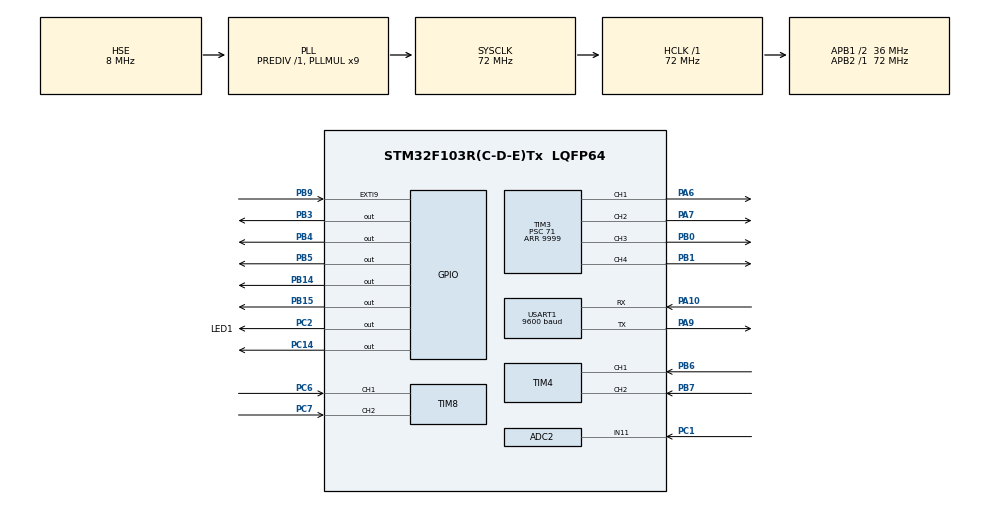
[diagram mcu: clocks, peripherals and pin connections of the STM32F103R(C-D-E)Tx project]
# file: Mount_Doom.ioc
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ADC2.Channel-0\#ChannelRegularConversion=ADC_CHANNEL_11
ADC2.NbrOfConversionFlag=1
ADC2.Rank-0\#ChannelRegularConversion=1
ADC2.SamplingTime-0\#ChannelRegularConversion=ADC_SAMPLETIME_13CYCLES_5
Mcu.Family=STM32F1
Mcu.Name=STM32F103R(C-D-E)Tx
Mcu.Package=LQFP64
NVIC.PriorityGroup=NVIC_PRIORITYGROUP_4
NVIC.TIM3_IRQn=true\:0\:0\:false\:false\:true\:true\:true\:true
NVIC.USART1_IRQn=true\:0\:0\:false\:false\:true\:true\:true\:true
PA10.Mode=Asynchronous
PA10.Signal=USART1_RX
PA13.Mode=Serial_Wire
PA13.Signal=SYS_JTMS-SWDIO
PA14.Mode=Serial_Wire
PA14.Signal=SYS_JTCK-SWCLK
PA6.GPIO_ModeDefaultPP=GPIO_MODE_AF_PP
PA6.Signal=S_TIM3_CH1
PA7.GPIO_ModeDefaultPP=GPIO_MODE_AF_PP
PA7.Signal=S_TIM3_CH2
PA9.Mode=Asynchronous
PA9.Signal=USART1_TX
PB0.GPIO_Speed=GPIO_SPEED_FREQ_LOW
PB0.Signal=S_TIM3_CH3
PB1.GPIO_Speed=GPIO_SPEED_FREQ_LOW
PB1.Signal=S_TIM3_CH4
PB14.Signal=GPIO_Output
PB15.Signal=GPIO_Output
PB3.GPIO_Speed=GPIO_SPEED_FREQ_LOW
PB3.PinState=GPIO_PIN_SET
PB3.Signal=GPIO_Output
PB4.GPIO_Speed=GPIO_SPEED_FREQ_LOW
PB4.PinState=GPIO_PIN_SET
PB4.Signal=GPIO_Output
PB5.GPIO_Speed=GPIO_SPEED_FREQ_LOW
PB5.PinState=GPIO_PIN_SET
PB5.Signal=GPIO_Output
PB6.GPIO_PuPd=GPIO_PULLUP
PB6.Signal=S_TIM4_CH1
PB7.GPIO_PuPd=GPIO_PULLUP
PB7.Signal=S_TIM4_CH2
PB9.GPIO_ModeDefaultEXTI=GPIO_MODE_IT_FALLING
PB9.GPIO_PuPd=GPIO_PULLUP
PB9.Signal=GPXTI9
PC1.Signal=ADCx_IN11
PC14-OSC32_IN.GPIO_ModeDefaultOutputPP=GPIO_MODE_OUTPUT_PP
PC14-OSC32_IN.GPIO_PuPd=GPIO_NOPULL
PC14-OSC32_IN.GPIO_Speed=GPIO_SPEED_FREQ_LOW
PC14-OSC32_IN.Signal=GPIO_Output
PC2.GPIO_Label=LED1
PC2.GPIO_PuPd=GPIO_PULLUP
PC2.Signal=GPIO_Output
PC6.GPIO_PuPd=GPIO_PULLUP
PC6.Signal=S_TIM8_CH1
PC7.GPIO_PuPd=GPIO_PULLUP
PC7.Signal=S_TIM8_CH2
PD0-OSC_IN.Mode=HSE-External-Oscillator
PD0-OSC_IN.Signal=RCC_OSC_IN
PD1-OSC_OUT.Mode=HSE-External-Oscillator
PD1-OSC_OUT.Signal=RCC_OSC_OUT
ProjectManager.HeapSize=0x800
ProjectManager.StackSize=0x800
ProjectManager.TargetToolchain=MDK-ARM V5
RCC.ADCPresc=RCC_ADCPCLK2_DIV6
RCC.AHBFreq_Value=72000000
RCC.APB1CLKDivider=RCC_HCLK_DIV2
RCC.APB1Freq_Value=36000000
RCC.APB1TimFreq_Value=72000000
RCC.APB2Freq_Value=72000000
RCC.APB2TimFreq_Value=72000000
RCC.HCLKFreq_Value=72000000
RCC.PLLMUL=RCC_PLL_MUL9
RCC.PLLSourceVirtual=RCC_PLLSOURCE_HSE
RCC.SYSCLKFreq_VALUE=72000000
RCC.SYSCLKSource=RCC_SYSCLKSOURCE_PLLCLK
RCC.USBFreq_Value=72000000
SH.ADCx_IN11.0=ADC2_IN11,IN11
SH.S_TIM3_CH1.0=TIM3_CH1,PWM Generation1 CH1
SH.S_TIM3_CH2.0=TIM3_CH2,PWM Generation2 CH2
SH.S_TIM3_CH3.0=TIM3_CH3,PWM Generation3 CH3
SH.S_TIM3_CH4.0=TIM3_CH4,PWM Generation4 CH4
SH.S_TIM4_CH1.0=TIM4_CH1,Encoder_Interface
SH.S_TIM4_CH2.0=TIM4_CH2,Encoder_Interface
SH.S_TIM8_CH1.0=TIM8_CH1,Encoder_Interface
SH.S_TIM8_CH2.0=TIM8_CH2,Encoder_Interface
TIM3.AutoReloadPreload=TIM_AUTORELOAD_PRELOAD_ENABLE
TIM3.Channel-PWM\ Generation1\ CH1=TIM_CHANNEL_1
TIM3.Channel-PWM\ Generation2\ CH2=TIM_CHANNEL_2
TIM3.Channel-PWM\ Generation3\ CH3=TIM_CHANNEL_3
TIM3.Channel-PWM\ Generation4\ CH4=TIM_CHANNEL_4
TIM3.Period=9999
TIM3.Prescaler=71
TIM3.Pulse-PWM\ Generation1\ CH1=0
TIM3.Pulse-PWM\ Generation2\ CH2=0
TIM4.AutoReloadPreload=TIM_AUTORELOAD_PRELOAD_ENABLE
TIM4.EncoderMode=TIM_ENCODERMODE_TI12
TIM4.IC1Filter=6
TIM4.IC2Filter=6
TIM8.AutoReloadPreload=TIM_AUTORELOAD_PRELOAD_ENABLE
TIM8.EncoderMode=TIM_ENCODERMODE_TI12
TIM8.IC1Filter=6
TIM8.IC2Filter=6
USART1.BaudRate=9600
USART1.VirtualMode=VM_ASYNC
VP_TIM3_VS_ClockSourceINT.Mode=Internal
board=custom

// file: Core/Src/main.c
/* USER CODE BEGIN Header */
/**
  ******************************************************************************
  * @file           : main.c
  * @brief          : Main program body
  ******************************************************************************
  * @attention
  *
  * Copyright (c) 2023 STMicroelectronics.
  * All rights reserved.
  *
  * This software is licensed under terms that can be found in the LICENSE file
  * in the root directory of this software component.
  * If no LICENSE file comes with this software, it is provided AS-IS.
  *
  ******************************************************************************
  */
/* USER CODE END Header */
#include "main.h"
#include "adc.h"
#include "tim.h"
#include "usart.h"
#include "gpio.h"

/* USER CODE BEGIN Includes */
#include "niming.h"
#include "pid.h"
#include <stdio.h>
#include <string.h>
#include "cJSON.h"
#include <math.h>
#include "bsp_oled.h"
#include "Header.h"
/* USER CODE END Includes */

/* USER CODE BEGIN PD */
#define LED1_ON() HAL_GPIO_WritePin(LED1_GPIO_Port, LED1_Pin, GPIO_PIN_RESET)
#define LED1_OFF() HAL_GPIO_WritePin(LED1_GPIO_Port, LED1_Pin, GPIO_PIN_SET)
#define LED1_TOGGLE() HAL_GPIO_TogglePin(LED1_GPIO_Port, LED1_Pin)
/* USER CODE END PD */

/* USER CODE BEGIN PM */

short Encoder1Count = 0;
short Encoder2Count = 0;

float Motor1Speed = 0.00;
float Motor2Speed = 0.00;

uint16_t Timer1Count = 0;

extern tPid pidMotor1Speed, pidMotor2Speed, pidMPU6050YawMovement, pidMPU6050PitchMovement;
extern Car wheel1, wheel2;

uint8_t OledString[30];

float Mileage = 0.00;

extern float Roll, Pitch, Yaw;

float g_fMPU6050YawMovePidOut = 0, g_fMPU6050YawMovePidOut1 = 0, g_fMPU6050YawMovePidOut2 = 0,
	  g_fMPU6050PitchMovePidOut = 0, g_fMPU6050PitchMovePidOut1 = 0, g_fMPU6050PitchMovePidOut2 = 0;

/* USER CODE END PM */

void SystemClock_Config(void);

/* USER CODE BEGIN 0 */

int XianFu_PWM(int pwm)
{
	if (pwm >= 10000)
	{
		pwm = 10000;
	}
	else if (pwm <= -10000)
	{
		pwm = -10000;
	}
	return pwm;
}

void Motor_Left(int pwm)
{
	if (pwm > 0) // forward
	{
		__HAL_TIM_SET_COMPARE(&htim3, TIM_CHANNEL_1, pwm);
		__HAL_TIM_SET_COMPARE(&htim3, TIM_CHANNEL_2, 0);
	}
	else if(pwm < 0) //back
	{
		__HAL_TIM_SET_COMPARE(&htim3, TIM_CHANNEL_1, 0);
		__HAL_TIM_SET_COMPARE(&htim3, TIM_CHANNEL_2, -pwm);
	}
	else // stop
	{
		__HAL_TIM_SET_COMPARE(&htim3, TIM_CHANNEL_1, 0);
		__HAL_TIM_SET_COMPARE(&htim3, TIM_CHANNEL_2, 0);
	}
}

void Motor_Right(int pwm)
{
	pwm = -pwm;
	if (pwm > 0) // forward
	{
		__HAL_TIM_SET_COMPARE(&htim3, TIM_CHANNEL_3, pwm);
		__HAL_TIM_SET_COMPARE(&htim3, TIM_CHANNEL_4, 0);
	}
	else if(pwm < 0) //back
	{
		__HAL_TIM_SET_COMPARE(&htim3, TIM_CHANNEL_3, 0);
		__HAL_TIM_SET_COMPARE(&htim3, TIM_CHANNEL_4, -pwm);
	}
	else // stop
	{
		__HAL_TIM_SET_COMPARE(&htim3, TIM_CHANNEL_3, 0);
		__HAL_TIM_SET_COMPARE(&htim3, TIM_CHANNEL_4, 0);
	}
}

void Motor_Control(int pwm1, int pwm2)
{
	// if (pwm1 == pwm2 ) go straight
	// if (pwm1 > pwm2) turn right
	// if (pwm1 < pwm2) turn left
	pwm1 = XianFu_PWM(pwm1);
	pwm2 = XianFu_PWM(pwm2);
	Motor_Left(pwm1);
	Motor_Right(pwm2);

}

////MotorPidSetSpeed(3, 4);//turn left
////MotorPidSetSpeed(4, 3);//turn right
////MotorPidSetSpeed(4, 4);//forward
////MotorPidSetSpeed(-3, -3);//backward
void MotorPidSetSpeed(float Motor1SetSpeed, float Motor2SetSpeed)
{
	//Set pid target speed
	pidMotor1Speed.target_val = Motor1SetSpeed;
	pidMotor2Speed.target_val = Motor2SetSpeed;

	Motor_Control(PID_realize(&pidMotor1Speed, Motor1Speed), PID_realize(&pidMotor2Speed, Motor2Speed));
}

void stop(void)
{
	pidMotor1Speed.target_val = 0;
	pidMotor2Speed.target_val = 0;
	Motor_Control(0, 0);
}

void MotorTurnAngle(float angle, float speed)
{
	pidMPU6050YawMovement.target_val = angle;
	g_fMPU6050YawMovePidOut = PID_Anglerealize(&pidMPU6050YawMovement, Yaw);

	g_fMPU6050YawMovePidOut1 = speed - g_fMPU6050YawMovePidOut;
	g_fMPU6050YawMovePidOut2 = speed + g_fMPU6050YawMovePidOut;
	MotorPidSetSpeed(g_fMPU6050YawMovePidOut1, g_fMPU6050YawMovePidOut2);
}

void Climb (float angle, float speed)
{
	pidMPU6050PitchMovement.target_val = -angle;
	g_fMPU6050PitchMovePidOut = PID_Anglerealize(&pidMPU6050PitchMovement, Pitch);
	g_fMPU6050PitchMovePidOut1 = speed - g_fMPU6050PitchMovePidOut;
	g_fMPU6050PitchMovePidOut2 = speed + g_fMPU6050PitchMovePidOut;
	MotorPidSetSpeed(g_fMPU6050PitchMovePidOut1, g_fMPU6050PitchMovePidOut2);
}

void OLED_Show()
{
	memset(OLED_GRAM, 0, 128 * 8*sizeof(uint8_t));
	sprintf((char*)OledString, "v1: %2.2fv2: %2.2f", Motor1Speed, Motor2Speed);
	OLED_ShowString(0, 0, OledString);
	sprintf((char*)OledString, "Mileage: %2.2f", Mileage);
	OLED_ShowString(0, 10, OledString);
	sprintf((char*)OledString, "U: %2.2fV", adcGetBatteryVoltage());
	OLED_ShowString(0, 20, OledString);
	sprintf((char*)OledString, "R: %2.1f", Roll);
	OLED_ShowString(0, 30, OledString);
	sprintf((char*)OledString, "P: %2.1f", Pitch);
	OLED_ShowString(0, 40, OledString);
	sprintf((char*)OledString, "Y: %2.1f", Yaw);
	OLED_ShowString(0, 50, OledString);
	//sprintf((char*)OledString, "D: %2.2f", g_fMPU6050YawMovePidOut);
	sprintf((char*)OledString, "D: %2.2f", g_fMPU6050PitchMovePidOut);
	OLED_ShowString(64, 50, OledString);
//	sprintf((char*)OledString, "M: %2.2f", MAX_Roll);
//	OLED_ShowString(64, 40, OledString);
//	sprintf((char*)OledString, "T: %2.2f", Target_Yaw);
//	OLED_ShowString(64, 30, OledString);
	OLED_Refresh_Gram();
}

void HAL_TIM_PeriodElapsedCallback(TIM_HandleTypeDef *htim)
{
	if (htim->Instance == TIM3) // 1000hz 10ms
	{
		static int Moto1 = 0, Moto2 = 0;
		Timer1Count++;
		if (Timer1Count % 1 == 0)
		{
			Encoder1Count = (short)__HAL_TIM_GET_COUNTER(&htim4);
			Encoder2Count = -(short)__HAL_TIM_GET_COUNTER(&htim8);

			Motor1Speed = (float)Encoder1Count * 100 / 30 / 13 / 4;
			Motor2Speed = (float)Encoder2Count * 100 / 1560;
			__HAL_TIM_SET_COUNTER(&htim4, 0);
			__HAL_TIM_SET_COUNTER(&htim8, 0);
			//Show_Info();

		}
		if (Timer1Count % 2 == 0) //20ms
		{
			Mileage += (Motor1Speed + Motor2Speed) / 2 * 0.02 * 0.044; //m
			Moto1 = PID_realize(&pidMotor1Speed, Motor1Speed);
			Moto2 = PID_realize(&pidMotor2Speed, Motor2Speed);
			Motor_Control(Moto1, Moto2);
			Timer1Count = 0;
		}
	}
}

/* USER CODE END 0 */

int main(void)
{

  /* MCU Configuration--------------------------------------------------------*/

  /* Reset of all peripherals, Initializes the Flash interface and the Systick. */
  HAL_Init();

  /* Configure the system clock */
  SystemClock_Config();

  /* Initialize all configured peripherals */
  MX_GPIO_Init();
  MX_TIM3_Init();
  MX_USART1_UART_Init();
  MX_TIM4_Init();
  MX_TIM8_Init();
  MX_ADC2_Init();
  /* USER CODE BEGIN 2 */

	LED1_ON();

	HAL_TIM_PWM_Start(&htim3, TIM_CHANNEL_1);
	HAL_TIM_PWM_Start(&htim3, TIM_CHANNEL_2);
	HAL_TIM_PWM_Start(&htim3, TIM_CHANNEL_3);
	HAL_TIM_PWM_Start(&htim3, TIM_CHANNEL_4);

	HAL_TIM_Encoder_Start(&htim4, TIM_CHANNEL_1);
	HAL_TIM_Encoder_Start(&htim4, TIM_CHANNEL_2);
	HAL_TIM_Encoder_Start(&htim8, TIM_CHANNEL_1);
	HAL_TIM_Encoder_Start(&htim8, TIM_CHANNEL_2);

	HAL_TIM_Base_Start_IT(&htim3);

	__HAL_UART_ENABLE_IT(&huart1, UART_IT_RXNE);

	PID_init();

	OLED_Init();

	MPU6050_initialize();
	DMP_Init();

	LED1_OFF();

  /* USER CODE END 2 */

  /* Infinite loop */
  while (1)
  {

    /* USER CODE BEGIN 3 */
	  OLED_Show();
	  Read_DMP();

	  //MotorTurnAngle(Target_Yaw, 2);

	  Climb(Pitch, 2.5);

	  //定点停车，默认注释
//	  if (Mileage >= 2)//行驶超过2m停下
//	  {
//		  stop();
//		  break;
//	  }

	  delay_ms(50);

  }
  /* USER CODE END 3 */
}

void SystemClock_Config(void)
{
  RCC_OscInitTypeDef RCC_OscInitStruct = {0};
  RCC_ClkInitTypeDef RCC_ClkInitStruct = {0};
  RCC_PeriphCLKInitTypeDef PeriphClkInit = {0};

  /** Initializes the RCC Oscillators according to the specified parameters
  * in the RCC_OscInitTypeDef structure.
  */
  RCC_OscInitStruct.OscillatorType = RCC_OSCILLATORTYPE_HSE;
  RCC_OscInitStruct.HSEState = RCC_HSE_ON;
  RCC_OscInitStruct.HSEPredivValue = RCC_HSE_PREDIV_DIV1;
  RCC_OscInitStruct.HSIState = RCC_HSI_ON;
  RCC_OscInitStruct.PLL.PLLState = RCC_PLL_ON;
  RCC_OscInitStruct.PLL.PLLSource = RCC_PLLSOURCE_HSE;
  RCC_OscInitStruct.PLL.PLLMUL = RCC_PLL_MUL9;
  if (HAL_RCC_OscConfig(&RCC_OscInitStruct) != HAL_OK)
  {
    Error_Handler();
  }

  /** Initializes the CPU, AHB and APB buses clocks
  */
  RCC_ClkInitStruct.ClockType = RCC_CLOCKTYPE_HCLK|RCC_CLOCKTYPE_SYSCLK
                              |RCC_CLOCKTYPE_PCLK1|RCC_CLOCKTYPE_PCLK2;
  RCC_ClkInitStruct.SYSCLKSource = RCC_SYSCLKSOURCE_PLLCLK;
  RCC_ClkInitStruct.AHBCLKDivider = RCC_SYSCLK_DIV1;
  RCC_ClkInitStruct.APB1CLKDivider = RCC_HCLK_DIV2;
  RCC_ClkInitStruct.APB2CLKDivider = RCC_HCLK_DIV1;

  if (HAL_RCC_ClockConfig(&RCC_ClkInitStruct, FLASH_LATENCY_2) != HAL_OK)
  {
    Error_Handler();
  }
  PeriphClkInit.PeriphClockSelection = RCC_PERIPHCLK_ADC;
  PeriphClkInit.AdcClockSelection = RCC_ADCPCLK2_DIV6;
  if (HAL_RCCEx_PeriphCLKConfig(&PeriphClkInit) != HAL_OK)
  {
    Error_Handler();
  }
}

void Error_Handler(void)
{
  __disable_irq();
  while (1)
  {
  }
}
